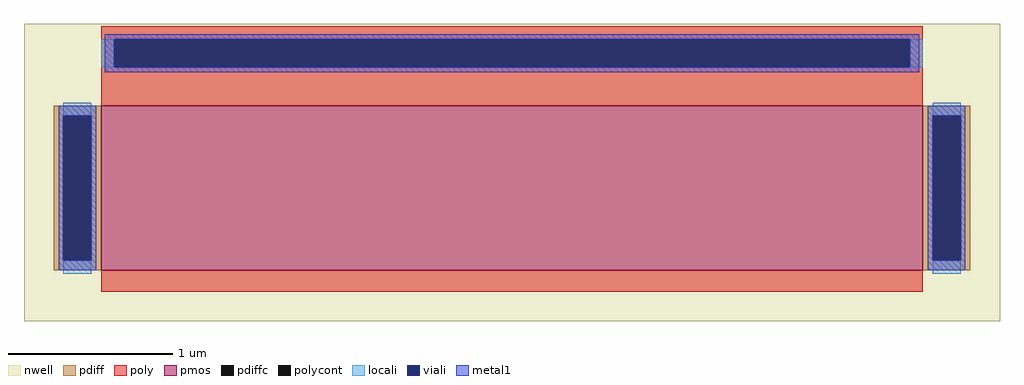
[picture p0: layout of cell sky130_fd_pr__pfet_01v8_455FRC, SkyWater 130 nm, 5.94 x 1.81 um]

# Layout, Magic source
magic
tech sky130B
magscale 1 2
<< nwell >>
rect -594 -198 594 164
<< pmos >>
rect -500 -136 500 64
<< pdiff >>
rect -558 52 -500 64
rect -558 -124 -546 52
rect -512 -124 -500 52
rect -558 -136 -500 -124
rect 500 52 558 64
rect 500 -124 512 52
rect 546 -124 558 52
rect 500 -136 558 -124
<< pdiffc >>
rect -546 -124 -512 52
rect 512 -124 546 52
<< poly >>
rect -500 145 500 161
rect -500 111 -484 145
rect 484 111 500 145
rect -500 64 500 111
rect -500 -162 500 -136
<< polycont >>
rect -484 111 484 145
<< locali >>
rect -500 111 -484 145
rect 484 111 500 145
rect -546 52 -512 68
rect -546 -140 -512 -124
rect 512 52 546 68
rect 512 -140 546 -124
<< viali >>
rect -484 111 484 145
rect -546 -124 -512 52
rect 512 -124 546 52
<< metal1 >>
rect -496 145 496 151
rect -496 111 -484 145
rect 484 111 496 145
rect -496 105 496 111
rect -552 52 -506 64
rect -552 -124 -546 52
rect -512 -124 -506 52
rect -552 -136 -506 -124
rect 506 52 552 64
rect 506 -124 512 52
rect 546 -124 552 52
rect 506 -136 552 -124
<< properties >>
string gencell sky130_fd_pr__pfet_01v8
string library sky130
string parameters w 1 l 5 m 1 nf 1 diffcov 100 polycov 100 guard 0 glc 0 grc 0 gtc 0 gbc 0 tbcov 100 rlcov 100 topc 1 botc 0 poverlap 0 doverlap 0 lmin 0.15 wmin 0.42 class mosfet compatible {sky130_fd_pr__pfet_01v8  sky130_fd_pr__pfet_01v8_lvt sky130_fd_pr__pfet_01v8_hvt  sky130_fd_pr__pfet_g5v0d10v5} full_metal 0 viasrc 100 viadrn 100 viagate 100 viagb 0 viagr 0 viagl 0 viagt 0
<< end >>
